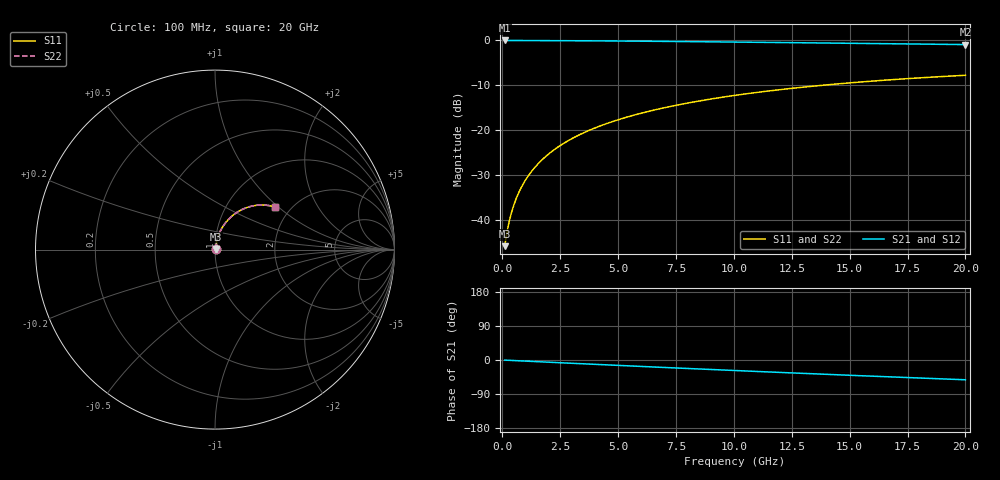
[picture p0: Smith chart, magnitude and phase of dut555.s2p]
! Touchstone file exported from HFSS 2026.1.0
!  File:  C:/ffzhzh/LocalFiles/Ansys_Project_Files/temp_train_TMRDL_555_1783007732_55676.aedt
!  Generated:  11:57:03 PM Jul  2, 2026
!  Design:  TMRDL
!  Project:  temp_train_TMRDL_555_1783007732_55676
! Variables:
!  h_bsmrdl = 2um
!  h_ox = 20um
!  h_rdl = 5um
!  h_sub = 80um
!  h_tmrdl = 4.94um
!  h_tsv = 80um
!  h_via = 3um
!  l_bsmrdl = 300um
!  l_sub = 1245.35um
!  l_tmrdl = 845.35um
!  m_sub = 200um
!  pitch = 33.17um
!  r_tsv = 6um
!  s_tmrdl = 10um
!  w_bsmrdl = 18um
!  w_sub = 500um
!  w_tmrdl = 14.56um
!  x_tsv_center1 = 852.63um
!  x_tsv_center2 = 1170.63um
!  x_tsv_center3 = 2030.54um
!  x_tsv_center4 = 2348.54um
!  x_tsv_center5 = 3208.45um
!  x_tsv_center6 = 3526.45um
# GHz S MA R 50.000000
! Terminal data exported
! Port[1] = TM_RDL1_1_T1
! Port[2] = TM_RDL1_1_T2
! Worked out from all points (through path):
!   200 points, 100 MHz to 20 GHz, reference 50 ohm
!   highest |S21| = -0.04 dB at 100 MHz (marker M1); lowest = -1.0 dB at 20 GHz (marker M2)
!   group delay of S21, straight-line fit = 7.24 ps
!   lowest |S11| = -45.7 dB at 100 MHz (marker M3), VSWR 1.01, Z = 50.4 + j0.298 ohm
!   |S11| at or under -10 dB: start of sweep to 13.8 GHz
!   |S22| runs from -45.7 to -7.8 dB; largest |S21 - S12| = 5.4e-15
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0.1  0.005182 34.8  0.9958 -0.3  0.9958 -0.3  0.005182 34.8
! Gamma 0 0 0 0
! Port Impedance 50 0 50 0
0.2  0.007337 52.5  0.9956 -0.6  0.9956 -0.6  0.007337 52.5
0.3  0.009788 61.2  0.9954 -0.9  0.9954 -0.9  0.009788 61.2
0.4  0.01232 66.2  0.9952 -1.2  0.9952 -1.2  0.01232 66.2
0.5  0.01489 69.5  0.9951 -1.5  0.9951 -1.5  0.01489 69.5
0.6  0.01748 71.8  0.9949 -1.8  0.9949 -1.8  0.01748 71.8
0.8  0.02273 74.7  0.9947 -2.3  0.9947 -2.3  0.02273 74.7
1.1  0.03068 76.8  0.9942 -3.2  0.9942 -3.2  0.03068 76.8
1.3  0.03601 77.5  0.9939 -3.8  0.9939 -3.8  0.03601 77.5
1.6  0.044 77.9  0.9934 -4.7  0.9934 -4.7  0.044 77.9
2.1  0.05727 77.8  0.9923 -6.1  0.9923 -6.1  0.05727 77.8
2.7  0.07303 76.9  0.9906 -7.8  0.9906 -7.8  0.07303 76.9
3.5  0.09368 75.2  0.988 -10.1  0.988 -10.1  0.09368 75.3
4.2  0.1114 73.6  0.9853 -12.0  0.9853 -12.0  0.1114 73.6
5  0.1311 71.6  0.982 -14.3  0.982 -14.3  0.1311 71.6
5.9  0.1528 69.4  0.9779 -16.7  0.9779 -16.7  0.1527 69.4
6.8  0.1738 67.1  0.9736 -19.2  0.9736 -19.2  0.1738 67.1
8.3  0.2075 63.3  0.9658 -23.2  0.9658 -23.2  0.2075 63.4
10.1  0.2458 58.9  0.9557 -27.9  0.9557 -27.9  0.2457 58.9
13.4  0.3092 50.8  0.9359 -36.4  0.9359 -36.4  0.3092 50.9
16.7  0.3636 43.1  0.9156 -44.5  0.9156 -44.5  0.3635 43.1
20  0.4088 35.6  0.8962 -52.2  0.8962 -52.2  0.4087 35.6
